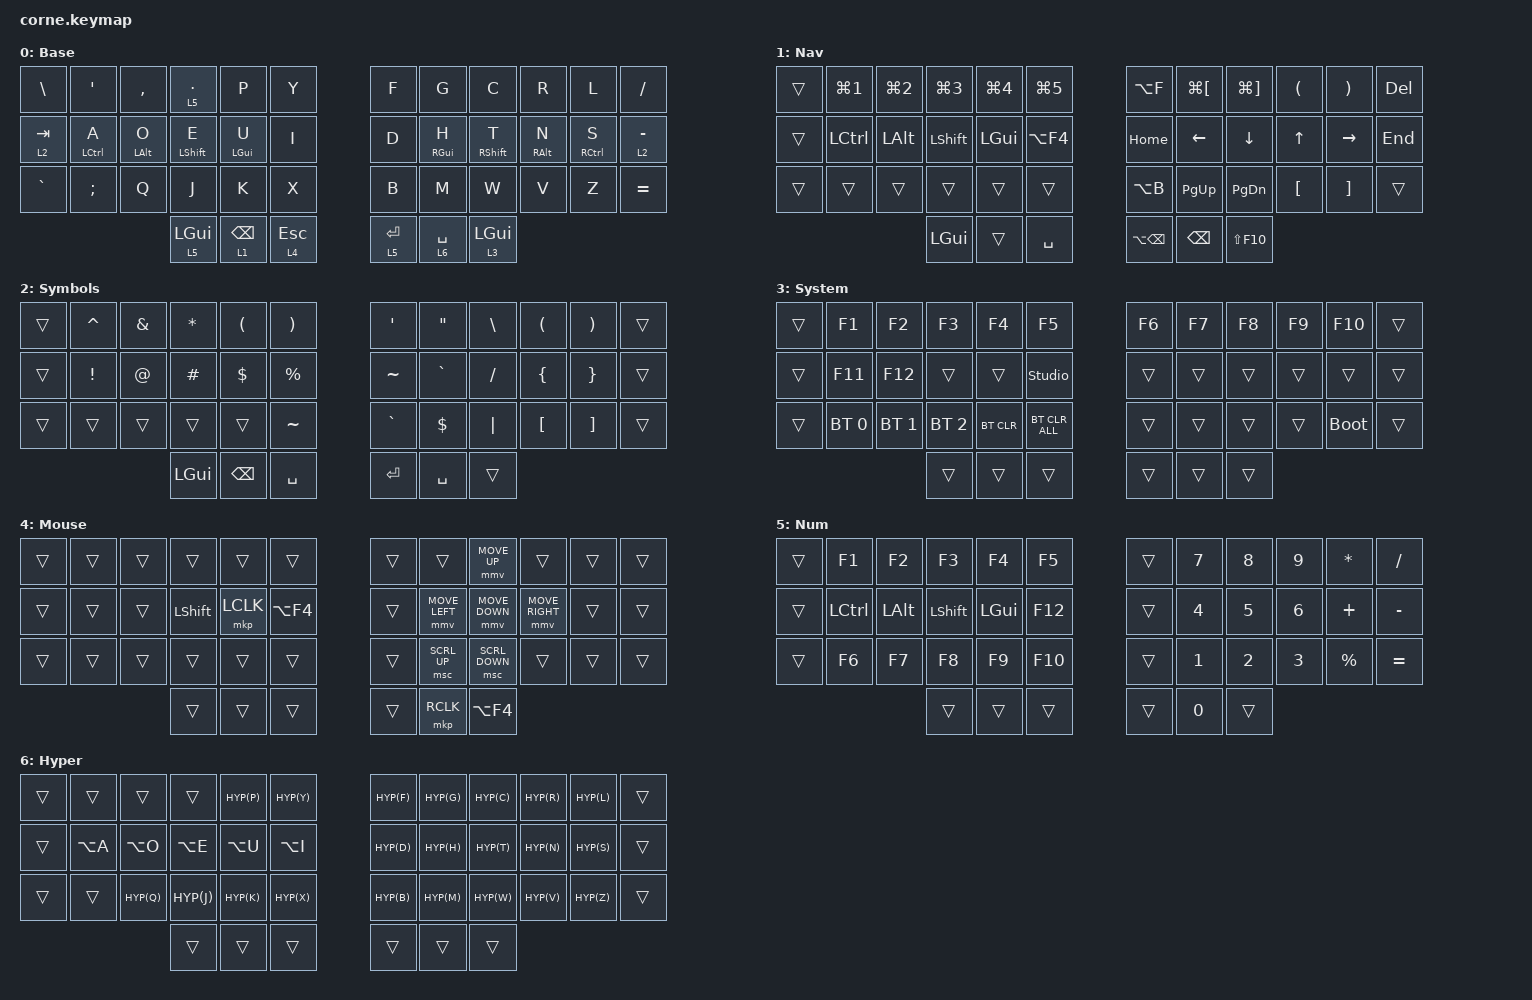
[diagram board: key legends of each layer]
#include <behaviors.dtsi>
#include <dt-bindings/zmk/bt.h>
#include <dt-bindings/zmk/keys.h>
#include <dt-bindings/zmk/pointing.h>

#define DEF 0
#define NAV 1
#define SYM 2
#define ADJ 3
#define MOUSE 4
#define NUM 5
#define HYP 6

#define HYP(key) LS(LC(LA(LG(key))))

#define ZMK_POINTING_DEFAULT_MOVE_VAL 1500  // default: 600
#define ZMK_POINTING_DEFAULT_SCRL_VAL 20    // default: 10

/ {
    behaviors {
        hm: homerow_mods {
            compatible = "zmk,behavior-hold-tap";
            #binding-cells = <2>;
            tapping-term-ms = <200>;
            flavor = "tap-preferred";
            bindings = <&kp>, <&kp>;

            quick-tap-ms = <180>;
            require-prior-idle-ms = <120>; /* tune to taste */
        };

        para: para {
            compatible = "zmk,behavior-tap-dance";
            #binding-cells = <0>;
            bindings = <&kp LEFT_PARENTHESIS>, <&kp RIGHT_PARENTHESIS>;
        };

        caps: caps {
            compatible = "zmk,behavior-caps-word";
            #binding-cells = <0>;
            continue-list = <MINUS BACKSPACE>;
        };

        paraless: paraless {
            compatible = "zmk,behavior-mod-morph";
            bindings = <&kp LEFT_PARENTHESIS>, <&kp LESS_THAN>;

            #binding-cells = <0>;
            mods = <(MOD_LSFT)>;
        };

        paragreat: paragreat {
            compatible = "zmk,behavior-mod-morph";
            bindings = <&kp RIGHT_PARENTHESIS>, <&kp GREATER_THAN>;

            #binding-cells = <0>;
            mods = <(MOD_LSFT)>;
        };
    };

    macros {
        browsertab: browsertab {
            compatible = "zmk,behavior-macro";
            #binding-cells = <0>;
            bindings =
                <&macro_press>,
                <&kp LCTRL>,
                <&macro_tap>,
                <&kp TAB>,
                <&macro_release>,
                <&kp LCTRL>;
        };
        a_grave: a_grave {
            compatible = "zmk,behavior-macro";
            #binding-cells = <0>;
            bindings =
                <&macro_tap>,
                <&kp GRAVE>,
                <&kp A>;
        };
        a_circ: a_circ {
            compatible = "zmk,behavior-macro";
            #binding-cells = <0>;
            bindings =
                <&macro_tap>,
                <&kp CARET>,
                <&kp A>;
        };
        e_grave: e_grave {
            compatible = "zmk,behavior-macro";
            #binding-cells = <0>;
            bindings =
                <&macro_tap>,
                <&kp GRAVE>,
                <&kp E>;
        };
        e_circ: e_circ {
            compatible = "zmk,behavior-macro";
            #binding-cells = <0>;
            bindings =
                <&macro_tap>,
                <&kp CARET>,
                <&kp E>;
        };
        e_aigu: e_aigu {
            compatible = "zmk,behavior-macro";
            #binding-cells = <0>;
            bindings =
                <&macro_tap>,
                <&kp SQT>,
                <&kp E>;
        };
        u_grave: u_grave {
            compatible = "zmk,behavior-macro";
            #binding-cells = <0>;
            bindings =
                <&macro_tap>,
                <&kp GRAVE>,
                <&kp U>;
        };

    };

    combos {
        compatible = "zmk,combos";

        a_grave {
            bindings = <&a_grave>;
            key-positions = <13 25>;
        };
        a_circ {
            bindings = <&a_circ>;
            key-positions = <13 27>;
        };
        e_grave {
            bindings = <&e_grave>;
            key-positions = <15 26>;
        };
        e_circ {
            bindings = <&e_circ>;
            key-positions = <15 27>;
        };
        e_aigu {
            bindings = <&e_aigu>;
            key-positions = <15 28>;
        };
        u_grave {
            bindings = <&u_grave>;
            key-positions = <16 28>;
        };

        caps_word {
            bindings = <&caps_word>;
            key-positions = <15 20>;
        };

        escape {
            bindings = <&kp ESCAPE>;
            key-positions = <13 29>;
        };

        delete {
            bindings = <&kp DELETE>;
            key-positions = <15 21>;
        };

        perc {
            bindings = <&kp PERCENT>;
            key-positions = <5 17>;
            layers = <0>;
        };

        equal {
            bindings = <&kp EQUAL>;
            key-positions = <28 16>;
            layers = <0>;
        };

        dollar {
            bindings = <&kp DOLLAR>;
            key-positions = <4 16>;
            layers = <0>;
        };

        pound {
            bindings = <&kp POUND>;
            key-positions = <3 15>;
            layers = <0>;
        };

        at {
            bindings = <&kp AT>;
            key-positions = <2 14>;
            layers = <0>;
        };

        backslash {
            bindings = <&kp BACKSLASH>;
            key-positions = <26 14>;
            layers = <0>;
        };

        star {
            bindings = <&kp STAR>;
            key-positions = <8 20>;
            layers = <0>;
        };

        slash {
            bindings = <&kp SLASH>;
            key-positions = <32 20>;
            layers = <0>;
        };

        plus {
            bindings = <&kp PLUS>;
            key-positions = <7 19>;
            layers = <0>;
        };

        minus {
            bindings = <&kp KP_MINUS>;
            key-positions = <31 19>;
            layers = <0>;
        };

        underscore {
            bindings = <&kp UNDER>;
            key-positions = <30 18>;
            layers = <0>;
        };

        leftbrack {
            bindings = <&kp LEFT_BRACKET>;
            key-positions = <31 32>;
            layers = <0>;
        };

        rightbrack {
            bindings = <&kp RIGHT_BRACKET>;
            key-positions = <33 32>;
            layers = <0>;
        };

        //para-less {
        //    bindings = <&paraless>;
        //    key-positions = <20 19>;
        //    layers = <0>;
        //};

        //para-great {
        //    bindings = <&paragreat>;
        //    key-positions = <20 21>;
        //    layers = <0>;
        //};
    };

    //

    keymap {
        compatible = "zmk,keymap";

        DEF {
            display-name = "Base";

            // -----------------------------------------------------------------------------------------
            // |  Q  |  W  |  E  |  R  |  T  |   |  Y  |  U   |  I  |  O  |  P  |
            // |  A  |  S  |  D  |  F  |  G  |   |  H  |  J   |  K  |  L  |  ;  |
            // |  Z  |  X  |  C  |  V  |  B  |   |  N  |  M   |  ,  |  .  |  /  |
            // | GUI | CTRL | SHFT | LWR | SPC |   | ENT | RSE  | BKSP | ALT | ESC |

            bindings = <
&kp BSLH    &kp SQT      &kp COMMA  &lt 5 DOT   &kp P       &kp Y        &kp F    &kp G      &kp C       &kp R       &kp L        &kp FSLH
&lt 2 TAB   &hm LCTRL A  &hm LALT O &hm LSHFT E &hm LGUI U  &kp I        &kp D    &hm RGUI H &hm RSHFT T &hm RALT N  &hm RCTRL S  &lt 2 MINUS
&kp GRAVE   &kp SEMI     &kp Q      &kp J       &kp K       &kp X        &kp B    &kp M      &kp W       &kp V       &kp Z        &kp EQUAL
                                    &lt 5 LGUI  &lt 1 BSPC   &lt 4 ESC    &lt 5 RET  &lt 6 SPACE  &lt 3 LGUI
            >;
        };

        NAV {
            display-name = "Nav";

            // -----------------------------------------------------------------------------------------
            // |  TAB |  1  |  2  |  3  |  4  |  5  |   |  6  |  7  |  8  |  9  |  0  | BKSP |
            // | BTCLR| BT1 | BT2 | BT3 | BT4 | BT5 |   | LFT | DWN |  UP | RGT |     |      |
            // | SHFT |     |     |     |     |     |   |     |     |     |     |     |      |
            // | GUI | CTRL | SHFT | LWR | SPC |   | ENT | RSE  | BKSP | ALT | ESC |

            bindings = <
&trans  &kp LG(N1) &kp LG(N2) &kp LG(N3) &kp LG(N4) &kp LG(N5)          &kp LA(F) &kp LG(LBKT) &kp LG(RBKT)  &kp LPAR  &kp RPAR   &kp DEL
&trans  &kp LCTRL  &kp LALT   &kp LSHFT  &kp LGUI   &kp LA(F4)          &kp HOME  &kp LEFT     &kp DOWN      &kp UP    &kp RIGHT  &kp END
&trans  &trans     &trans   &trans     &trans       &trans              &kp LA(B) &kp PAGE_UP  &kp PAGE_DOWN &kp LBKT  &kp RBKT   &trans
                           &kp LGUI      &trans       &kp SPACE       &kp LA(BSPC)  &kp BSPC &kp LS(F10)
            >;
        };

        SYM {
            display-name = "Symbols";

            // -----------------------------------------------------------------------------------------
            // |  TAB |  !  |  @  |  #  |  $  |  %  |   |  ^  |  &  |  *  |  (  |  )  | BKSP |
            // | CTRL |     |     |     |     |     |   |  -  |  =  |  [  |  ]  |  \  |  `   |
            // | SHFT |     |     |     |     |     |   |  _  |  +  |  {  |  }  | "|" |  ~   |
            //                    | GUI |     | SPC |   | ENT |     | ALT |

            bindings = <
&trans  &kp CARET &kp AMPS        &kp ASTRK       &kp LPAR         &kp RPAR          &kp SQT    &kp DQT   &kp BSLH   &kp LPAR  &kp RPAR  &trans
&trans  &kp EXCL  &kp AT          &kp HASH        &kp DLLR         &kp PRCNT         &kp TILDE  &kp GRAVE  &kp FSLH   &kp LBRC  &kp RBRC  &trans
&trans  &trans    &trans          &trans          &trans           &kp TILDE         &kp GRAVE  &kp DLLR   &kp PIPE   &kp LBKT  &kp RBKT  &trans
                                  &kp LGUI        &kp BSPC         &kp SPACE         &kp RET    &kp SPACE     &trans
            >;
        };

        ADJ {
            display-name = "System";
            bindings = <
&trans  &kp F1        &kp F2        &kp F3        &kp F4      &kp F5            &kp F6  &kp F7  &kp F8  &kp F9  &kp F10      &trans
&trans  &kp F11       &kp F12       &trans        &trans      &studio_unlock            &trans  &trans  &trans  &trans  &trans       &trans
&trans  &bt BT_SEL 0  &bt BT_SEL 1  &bt BT_SEL 2  &bt BT_CLR  &bt BT_CLR_ALL    &trans  &trans  &trans  &trans  &bootloader  &trans
                                    &trans        &trans      &trans            &trans  &trans  &trans
            >;
        };
        MOUSE {
                display-name = "Mouse";
            bindings = <
&trans  &trans       &trans         &trans            &trans      &trans        &trans  &trans          &mmv MOVE_UP    &trans           &trans      &trans
&trans  &trans       &trans         &kp LSHFT         &mkp LCLK   &kp LA(F4)    &trans  &mmv MOVE_LEFT  &mmv MOVE_DOWN  &mmv MOVE_RIGHT  &trans      &trans
&trans  &trans       &trans         &trans            &trans      &trans        &trans  &msc SCRL_UP  &msc SCRL_DOWN    &trans  &trans  &trans
                                     &trans        &trans      &trans           &trans  &mkp RCLK     &kp LA(F4)
            >;
        };
        NUM {
                display-name = "Num";
            bindings = <
&trans  &kp F1       &kp F2        &kp F3         &kp F4   &kp F5      &trans  &kp N7  &kp N8  &kp N9  &kp ASTRK   &kp FSLH
&trans  &kp LCTRL    &kp LALT      &kp LSHFT      &kp LGUI &kp F12     &trans  &kp N4  &kp N5  &kp N6  &kp PLUS    &kp MINUS
&trans  &kp F6       &kp F7        &kp F8         &kp F9   &kp F10     &trans  &kp N1  &kp N2  &kp N3  &kp PERCENT &kp EQUAL
                                   &trans         &trans   &trans      &trans  &kp N0  &trans
            >;
        };
        HYP {
                display-name = "Hyper";
            bindings = <
&trans  &trans       &trans        &trans         &kp HYP(P) &kp HYP(Y)      &kp HYP(F)  &kp HYP(G)  &kp HYP(C)  &kp HYP(R)  &kp HYP(L)  &trans
&trans  &kp LA(A)    &kp LA(O)     &kp LA(E)      &kp LA(U)  &kp LA(I)       &kp HYP(D)  &kp HYP(H)  &kp HYP(T)  &kp HYP(N)  &kp HYP(S)  &trans
&trans  &trans       &kp HYP(Q)    &kp HYP(J)     &kp HYP(K) &kp HYP(X)      &kp HYP(B)  &kp HYP(M)  &kp HYP(W)  &kp HYP(V)  &kp HYP(Z)  &trans
                                   &trans         &trans   &trans            &trans  &trans  &trans
            >;
        };
    };

};
    
